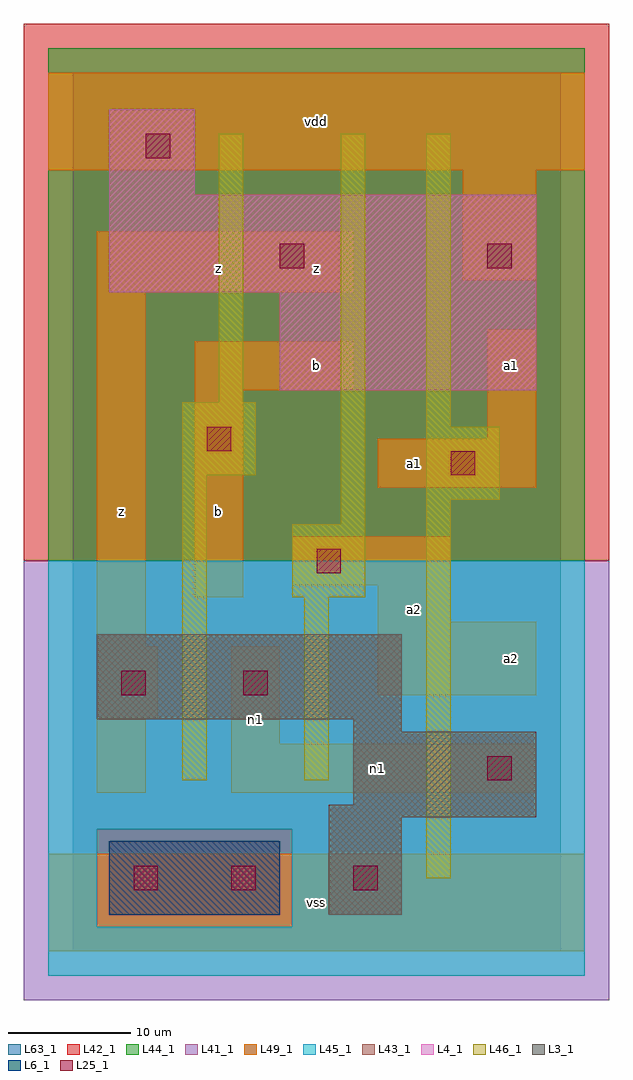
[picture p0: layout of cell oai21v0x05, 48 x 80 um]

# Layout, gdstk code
import gdstk
lib = gdstk.Library(unit=1e-6, precision=1e-09)
def R(c, l, rs):  # rectangles x0, y0, x1, y1
    for r in rs: c.add(gdstk.rectangle(r[:2], r[2:], *l))
L3_1 = (3, 1)
L4_1 = (4, 1)
L6_1 = (6, 1)
L25_1 = (25, 1)
L41_1 = (41, 1)
L42_1 = (42, 1)
L43_1 = (43, 1)
L44_1 = (44, 1)
L45_1 = (45, 1)
L46_1 = (46, 1)
L49_1 = (49, 1)
L63_1 = (63, 1)

oai21v0x05 = lib.new_cell('oai21v0x05')
R(oai21v0x05, L3_1, [(21,3,27,11), (21,11,38,12), (23,12,38,18), (23,18,27,19), (2,19,27,26)])
R(oai21v0x05, L4_1, [(17,46,38,54), (3,54,38,62), (3,62,10,69)])
R(oai21v0x05, L6_1, [(3,3,17,9), (3,3,17,9)])
R(oai21v0x05, L25_1, [(5,5,7,7), (13,5,15,7), (23,5,25,7), (34,14,36,16), (4,21,6,23), (14,21,16,23), (20,31,22,33), (31,39,33,41), (11,41,13,43), (17,56,19,58), (34,56,36,58), (6,65,8,67)])
R(oai21v0x05, L41_1, [(-4,-4,44,32)])
R(oai21v0x05, L42_1, [(-4,32,44,76)])
R(oai21v0x05, L43_1, [(3,3,17,9), (21,3,27,11), (21,11,38,12), (23,12,38,18), (23,18,27,19), (2,19,27,26), (17,46,38,54), (3,54,38,62), (3,62,10,69)])
R(oai21v0x05, L44_1, [(2,2,18,10), (-2,32,42,74)])
R(oai21v0x05, L45_1, [(-2,-2,42,2), (-2,2,2,10), (18,2,42,10), (-2,10,42,32)])
R(oai21v0x05, L46_1, [(29,6,31,37), (9,14,11,39), (19,14,21,29), (18,29,24,35), (22,35,24,67), (29,37,35,43), (9,39,15,45), (29,43,31,67), (12,45,14,67)])
R(oai21v0x05, L49_1, [(-2,0,42,8), (2,13,6,19), (13,13,38,17), (13,17,17,25), (2,19,7,25), (25,21,38,27), (2,25,6,54), (25,27,31,30), (10,29,14,46), (18,30,31,34), (25,38,38,42), (34,42,38,51), (10,46,23,50), (2,54,23,59), (32,55,38,64), (-2,64,42,72)])
R(oai21v0x05, L63_1, [(0,0,40,72)])
oai21v0x05.add(gdstk.Label('z', (4,36), layer=49, texttype=1))
oai21v0x05.add(gdstk.Label('n1', (15,19), layer=49, texttype=1))
oai21v0x05.add(gdstk.Label('b', (12,36), layer=49, texttype=1))
oai21v0x05.add(gdstk.Label('z', (12,56), layer=49, texttype=1))
oai21v0x05.add(gdstk.Label('vss', (20,4), layer=49, texttype=1))
oai21v0x05.add(gdstk.Label('a2', (28,28), layer=49, texttype=1))
oai21v0x05.add(gdstk.Label('a1', (28,40), layer=49, texttype=1))
oai21v0x05.add(gdstk.Label('b', (20,48), layer=49, texttype=1))
oai21v0x05.add(gdstk.Label('z', (20,56), layer=49, texttype=1))
oai21v0x05.add(gdstk.Label('vdd', (20,68), layer=49, texttype=1))
oai21v0x05.add(gdstk.Label('n1', (25,15), layer=49, texttype=1))
oai21v0x05.add(gdstk.Label('a2', (36,24), layer=49, texttype=1))
oai21v0x05.add(gdstk.Label('a1', (36,48), layer=49, texttype=1))

lib.write_gds('oai21v0x05.gds')
